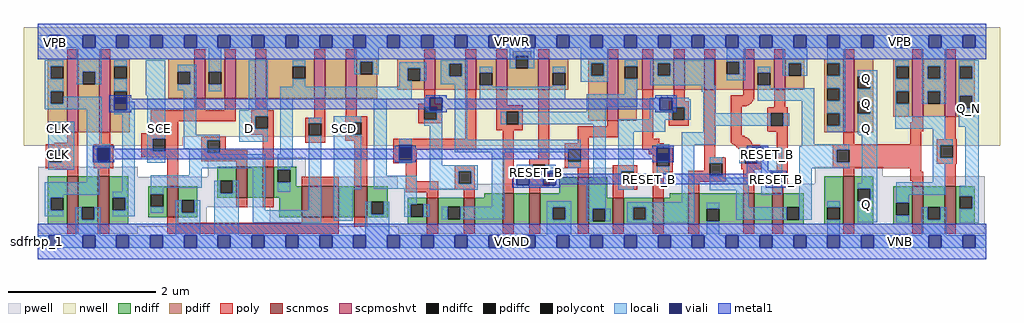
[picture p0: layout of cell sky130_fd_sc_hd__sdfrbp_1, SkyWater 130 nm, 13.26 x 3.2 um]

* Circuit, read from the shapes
.subckt sky130_fd_sc_hd__sdfrbp_1 CLK D RESET_B SCD SCE VGND VNB VPB VPWR Q Q_N
XM1 VGND CLK n1 VNB sky130_fd_pr__nfet_01v8 w=0.65 l=0.15
XM2 n2 n1 VGND VNB sky130_fd_pr__nfet_01v8 w=0.65 l=0.15
XM3 VGND SCE n3 VNB sky130_fd_pr__nfet_01v8 w=0.42 l=0.15
XM4 n4 n3 VGND VNB sky130_fd_pr__nfet_01v8 w=0.42 l=0.15
XM5 n5 D n4 VNB sky130_fd_pr__nfet_01v8 w=0.42 l=0.15
XM6 n6 SCE n5 VNB sky130_fd_pr__nfet_01v8 w=0.42 l=0.5
XM7 VGND SCD n6 VNB sky130_fd_pr__nfet_01v8 w=0.42 l=0.18
XM8 n7 n1 n5 VNB sky130_fd_pr__nfet_01v8 w=0.36 l=0.15
XM9 n8 n2 n7 VNB sky130_fd_pr__nfet_01v8 w=0.36 l=0.15
XM10 n9 n10 n8 VNB sky130_fd_pr__nfet_01v8 w=0.42 l=0.15
XM11 VGND RESET_B n9 VNB sky130_fd_pr__nfet_01v8 w=0.42 l=0.15
XM12 n10 n7 VGND VNB sky130_fd_pr__nfet_01v8 w=0.64 l=0.15
XM13 n11 n2 n10 VNB sky130_fd_pr__nfet_01v8 w=0.36 l=0.15
XM14 n12 n1 n11 VNB sky130_fd_pr__nfet_01v8 w=0.36 l=0.15
XM15 VGND n13 n12 VNB sky130_fd_pr__nfet_01v8 w=0.42 l=0.15
XM16 n14 RESET_B VGND VNB sky130_fd_pr__nfet_01v8 w=0.42 l=0.15
XM17 n13 n11 n14 VNB sky130_fd_pr__nfet_01v8 w=0.42 l=0.15
XM18 Q n13 VGND VNB sky130_fd_pr__nfet_01v8 w=0.65 l=0.15
XM19 VGND n13 n15 VNB sky130_fd_pr__nfet_01v8 w=0.52 l=0.15
XM20 Q_N n15 VGND VNB sky130_fd_pr__nfet_01v8 w=0.52 l=0.15
XM21 VPWR CLK n1 VPB sky130_fd_pr__pfet_01v8_hvt w=1 l=0.15
XM22 n2 n1 VPWR VPB sky130_fd_pr__pfet_01v8_hvt w=1 l=0.15
XM23 VPWR SCE n3 VPB sky130_fd_pr__pfet_01v8_hvt w=0.54 l=0.15
XM24 n16 SCE VPWR VPB sky130_fd_pr__pfet_01v8_hvt w=0.54 l=0.15
XM25 n5 D n16 VPB sky130_fd_pr__pfet_01v8_hvt w=0.54 l=0.15
XM26 n17 n3 n5 VPB sky130_fd_pr__pfet_01v8_hvt w=0.54 l=0.15
XM27 VPWR SCD n17 VPB sky130_fd_pr__pfet_01v8_hvt w=0.54 l=0.15
XM28 n7 n2 n5 VPB sky130_fd_pr__pfet_01v8_hvt w=0.42 l=0.15
XM29 n18 n1 n7 VPB sky130_fd_pr__pfet_01v8_hvt w=0.42 l=0.15
XM30 VPWR n10 n18 VPB sky130_fd_pr__pfet_01v8_hvt w=0.42 l=0.15
XM31 n18 RESET_B VPWR VPB sky130_fd_pr__pfet_01v8_hvt w=0.42 l=0.15
XM32 n10 n7 VPWR VPB sky130_fd_pr__pfet_01v8_hvt w=0.84 l=0.15
XM33 n11 n1 n10 VPB sky130_fd_pr__pfet_01v8_hvt w=0.42 l=0.15
XM34 n19 n2 n11 VPB sky130_fd_pr__pfet_01v8_hvt w=0.42 l=0.15
XM35 VPWR n13 n19 VPB sky130_fd_pr__pfet_01v8_hvt w=0.42 l=0.15
XM36 n13 RESET_B VPWR VPB sky130_fd_pr__pfet_01v8_hvt w=0.42 l=0.15
XM37 VPWR n11 n13 VPB sky130_fd_pr__pfet_01v8_hvt w=0.42 l=0.15
XM38 Q n13 VPWR VPB sky130_fd_pr__pfet_01v8_hvt w=1 l=0.15
XM39 VPWR n13 n15 VPB sky130_fd_pr__pfet_01v8_hvt w=0.79 l=0.15
XM40 Q_N n15 VPWR VPB sky130_fd_pr__pfet_01v8_hvt w=0.79 l=0.15
.ends

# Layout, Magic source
magic
tech sky130B
magscale 1 2
<< nwell >>
rect -38 285 2614 582
rect -38 261 394 285
rect 881 261 2614 285
<< pwell >>
rect 1 176 271 203
rect 461 176 728 229
rect 1 145 977 176
rect 1391 157 1573 201
rect 2110 177 2296 203
rect 2110 157 2572 177
rect 1187 145 2572 157
rect 1 93 2572 145
rect 1 40 459 93
rect 630 40 2572 93
rect 1 21 271 40
rect 979 21 2572 40
rect 43 -2 47 21
<< scnmos >>
rect 79 47 109 177
rect 163 47 193 177
rect 351 66 381 150
rect 539 119 569 203
rect 611 119 641 203
rect 717 66 817 150
rect 859 66 895 150
rect 1057 47 1087 119
rect 1157 47 1187 119
rect 1263 47 1293 131
rect 1335 47 1365 131
rect 1467 47 1497 175
rect 1562 47 1592 119
rect 1671 47 1701 119
rect 1767 47 1797 131
rect 1916 47 1946 131
rect 1995 47 2025 131
rect 2188 47 2218 177
rect 2376 47 2406 151
rect 2464 47 2494 151
<< scpmoshvt >>
rect 79 297 109 497
rect 166 297 196 497
rect 424 389 454 497
rect 508 389 538 497
rect 590 389 620 497
rect 750 389 780 497
rect 836 389 866 497
rect 1049 413 1079 497
rect 1161 413 1191 497
rect 1245 413 1275 497
rect 1359 413 1389 497
rect 1547 329 1577 497
rect 1642 413 1672 497
rect 1728 413 1758 497
rect 1810 413 1840 497
rect 1916 413 1946 497
rect 2000 413 2030 497
rect 2188 297 2218 497
rect 2376 339 2406 497
rect 2464 339 2494 497
<< ndiff >>
rect 27 119 79 177
rect 27 85 35 119
rect 69 85 79 119
rect 27 47 79 85
rect 109 93 163 177
rect 109 59 119 93
rect 153 59 163 93
rect 109 47 163 59
rect 193 119 245 177
rect 487 165 539 203
rect 193 85 203 119
rect 237 85 245 119
rect 193 47 245 85
rect 299 129 351 150
rect 299 95 307 129
rect 341 95 351 129
rect 299 66 351 95
rect 381 112 433 150
rect 487 131 495 165
rect 529 131 539 165
rect 487 119 539 131
rect 569 119 611 203
rect 641 195 702 203
rect 641 161 651 195
rect 685 161 702 195
rect 641 150 702 161
rect 641 119 717 150
rect 381 78 391 112
rect 425 78 433 112
rect 381 66 433 78
rect 656 66 717 119
rect 817 66 859 150
rect 895 108 951 150
rect 1417 131 1467 175
rect 1213 119 1263 131
rect 895 74 905 108
rect 939 74 951 108
rect 895 66 951 74
rect 1005 101 1057 119
rect 1005 67 1013 101
rect 1047 67 1057 101
rect 1005 47 1057 67
rect 1087 95 1157 119
rect 1087 61 1113 95
rect 1147 61 1157 95
rect 1087 47 1157 61
rect 1187 47 1263 119
rect 1293 47 1335 131
rect 1365 93 1467 131
rect 1365 59 1399 93
rect 1433 59 1467 93
rect 1365 47 1467 59
rect 1497 119 1547 175
rect 1716 119 1767 131
rect 1497 89 1562 119
rect 1497 55 1507 89
rect 1541 55 1562 89
rect 1497 47 1562 55
rect 1592 93 1671 119
rect 1592 59 1617 93
rect 1651 59 1671 93
rect 1592 47 1671 59
rect 1701 47 1767 119
rect 1797 89 1916 131
rect 1797 55 1817 89
rect 1851 55 1916 89
rect 1797 47 1916 55
rect 1946 47 1995 131
rect 2025 93 2081 131
rect 2025 59 2035 93
rect 2069 59 2081 93
rect 2025 47 2081 59
rect 2136 93 2188 177
rect 2136 59 2144 93
rect 2178 59 2188 93
rect 2136 47 2188 59
rect 2218 143 2270 177
rect 2218 109 2228 143
rect 2262 109 2270 143
rect 2218 47 2270 109
rect 2324 106 2376 151
rect 2324 72 2332 106
rect 2366 72 2376 106
rect 2324 47 2376 72
rect 2406 93 2464 151
rect 2406 59 2418 93
rect 2452 59 2464 93
rect 2406 47 2464 59
rect 2494 123 2546 151
rect 2494 89 2504 123
rect 2538 89 2546 123
rect 2494 47 2546 89
<< pdiff >>
rect 1290 505 1340 517
rect 1290 497 1298 505
rect 27 477 79 497
rect 27 443 35 477
rect 69 443 79 477
rect 27 409 79 443
rect 27 375 35 409
rect 69 375 79 409
rect 27 297 79 375
rect 109 461 166 497
rect 109 427 122 461
rect 156 427 166 461
rect 109 297 166 427
rect 196 477 249 497
rect 196 443 207 477
rect 241 443 249 477
rect 196 409 249 443
rect 196 375 207 409
rect 241 375 249 409
rect 354 461 424 497
rect 354 427 380 461
rect 414 427 424 461
rect 354 389 424 427
rect 454 462 508 497
rect 454 428 464 462
rect 498 428 508 462
rect 454 389 508 428
rect 538 389 590 497
rect 620 477 750 497
rect 620 443 692 477
rect 726 443 750 477
rect 620 389 750 443
rect 780 389 836 497
rect 866 489 922 497
rect 866 455 876 489
rect 910 455 922 489
rect 866 389 922 455
rect 976 471 1049 497
rect 976 437 1005 471
rect 1039 437 1049 471
rect 976 413 1049 437
rect 1079 483 1161 497
rect 1079 449 1117 483
rect 1151 449 1161 483
rect 1079 413 1161 449
rect 1191 459 1245 497
rect 1191 425 1201 459
rect 1235 425 1245 459
rect 1191 413 1245 425
rect 1275 471 1298 497
rect 1332 497 1340 505
rect 1332 471 1359 497
rect 1275 413 1359 471
rect 1389 459 1441 497
rect 1389 425 1399 459
rect 1433 425 1441 459
rect 1389 413 1441 425
rect 1495 485 1547 497
rect 1495 451 1503 485
rect 1537 451 1547 485
rect 196 297 249 375
rect 1495 329 1547 451
rect 1577 477 1642 497
rect 1577 443 1594 477
rect 1628 443 1642 477
rect 1577 413 1642 443
rect 1672 484 1728 497
rect 1672 450 1684 484
rect 1718 450 1728 484
rect 1672 413 1728 450
rect 1758 413 1810 497
rect 1840 489 1916 497
rect 1840 455 1872 489
rect 1906 455 1916 489
rect 1840 413 1916 455
rect 1946 459 2000 497
rect 1946 425 1956 459
rect 1990 425 2000 459
rect 1946 413 2000 425
rect 2030 485 2082 497
rect 2030 451 2040 485
rect 2074 451 2082 485
rect 2030 413 2082 451
rect 2136 485 2188 497
rect 2136 451 2144 485
rect 2178 451 2188 485
rect 2136 417 2188 451
rect 1577 329 1627 413
rect 2136 383 2144 417
rect 2178 383 2188 417
rect 2136 349 2188 383
rect 2136 315 2144 349
rect 2178 315 2188 349
rect 2136 297 2188 315
rect 2218 449 2270 497
rect 2218 415 2228 449
rect 2262 415 2270 449
rect 2218 381 2270 415
rect 2218 347 2228 381
rect 2262 347 2270 381
rect 2218 297 2270 347
rect 2324 477 2376 497
rect 2324 443 2332 477
rect 2366 443 2376 477
rect 2324 409 2376 443
rect 2324 375 2332 409
rect 2366 375 2376 409
rect 2324 339 2376 375
rect 2406 477 2464 497
rect 2406 443 2418 477
rect 2452 443 2464 477
rect 2406 409 2464 443
rect 2406 375 2418 409
rect 2452 375 2464 409
rect 2406 339 2464 375
rect 2494 477 2546 497
rect 2494 443 2504 477
rect 2538 443 2546 477
rect 2494 396 2546 443
rect 2494 362 2504 396
rect 2538 362 2546 396
rect 2494 339 2546 362
<< ndiffc >>
rect 35 85 69 119
rect 119 59 153 93
rect 203 85 237 119
rect 307 95 341 129
rect 495 131 529 165
rect 651 161 685 195
rect 391 78 425 112
rect 905 74 939 108
rect 1013 67 1047 101
rect 1113 61 1147 95
rect 1399 59 1433 93
rect 1507 55 1541 89
rect 1617 59 1651 93
rect 1817 55 1851 89
rect 2035 59 2069 93
rect 2144 59 2178 93
rect 2228 109 2262 143
rect 2332 72 2366 106
rect 2418 59 2452 93
rect 2504 89 2538 123
<< pdiffc >>
rect 35 443 69 477
rect 35 375 69 409
rect 122 427 156 461
rect 207 443 241 477
rect 207 375 241 409
rect 380 427 414 461
rect 464 428 498 462
rect 692 443 726 477
rect 876 455 910 489
rect 1005 437 1039 471
rect 1117 449 1151 483
rect 1201 425 1235 459
rect 1298 471 1332 505
rect 1399 425 1433 459
rect 1503 451 1537 485
rect 1594 443 1628 477
rect 1684 450 1718 484
rect 1872 455 1906 489
rect 1956 425 1990 459
rect 2040 451 2074 485
rect 2144 451 2178 485
rect 2144 383 2178 417
rect 2144 315 2178 349
rect 2228 415 2262 449
rect 2228 347 2262 381
rect 2332 443 2366 477
rect 2332 375 2366 409
rect 2418 443 2452 477
rect 2418 375 2452 409
rect 2504 443 2538 477
rect 2504 362 2538 396
<< poly >>
rect 79 497 109 523
rect 166 497 196 523
rect 424 497 454 523
rect 508 497 538 523
rect 590 497 620 523
rect 750 497 780 523
rect 836 497 866 523
rect 1049 497 1079 523
rect 1161 497 1191 523
rect 1245 497 1275 523
rect 1359 497 1389 523
rect 1547 497 1577 523
rect 1642 497 1672 523
rect 1728 497 1758 523
rect 1810 497 1840 523
rect 1916 497 1946 523
rect 2000 497 2030 523
rect 2188 497 2218 523
rect 2376 497 2406 523
rect 2464 497 2494 523
rect 424 357 454 389
rect 508 357 538 389
rect 590 357 620 389
rect 307 327 538 357
rect 580 341 641 357
rect 79 269 109 297
rect 46 265 109 269
rect 166 265 196 297
rect 307 295 381 327
rect 280 279 381 295
rect 580 307 590 341
rect 624 307 641 341
rect 750 337 780 389
rect 836 340 866 389
rect 1049 375 1079 413
rect 1033 365 1099 375
rect 730 336 780 337
rect 728 335 780 336
rect 580 291 641 307
rect 21 249 109 265
rect 21 215 31 249
rect 65 215 109 249
rect 21 199 109 215
rect 151 249 205 265
rect 151 215 161 249
rect 195 215 205 249
rect 280 245 312 279
rect 346 245 381 279
rect 280 229 381 245
rect 151 199 205 215
rect 46 196 109 199
rect 79 177 109 196
rect 163 177 193 199
rect 351 150 381 229
rect 444 275 510 285
rect 444 241 460 275
rect 494 248 510 275
rect 494 241 569 248
rect 444 218 569 241
rect 539 203 569 218
rect 611 203 641 291
rect 726 321 780 335
rect 726 287 736 321
rect 770 287 780 321
rect 726 268 780 287
rect 835 324 895 340
rect 835 290 845 324
rect 879 290 895 324
rect 1033 331 1049 365
rect 1083 331 1099 365
rect 1033 321 1099 331
rect 835 274 895 290
rect 1161 279 1191 413
rect 1245 371 1275 413
rect 1245 353 1317 371
rect 1245 319 1273 353
rect 1307 319 1317 353
rect 1245 303 1317 319
rect 717 150 817 176
rect 859 150 895 274
rect 966 263 1191 279
rect 966 229 981 263
rect 1015 249 1191 263
rect 1015 229 1029 249
rect 966 213 1029 229
rect 999 164 1029 213
rect 1133 191 1187 207
rect 539 93 569 119
rect 611 93 641 119
rect 999 134 1087 164
rect 1133 157 1143 191
rect 1177 157 1187 191
rect 1133 141 1187 157
rect 1057 119 1087 134
rect 1157 119 1187 141
rect 1263 131 1293 303
rect 1359 225 1389 413
rect 1547 314 1577 329
rect 1467 284 1577 314
rect 1467 267 1497 284
rect 1335 209 1389 225
rect 1335 175 1345 209
rect 1379 175 1389 209
rect 1431 251 1497 267
rect 1431 217 1441 251
rect 1475 217 1497 251
rect 1642 279 1672 413
rect 1728 381 1758 413
rect 1714 365 1768 381
rect 1714 331 1724 365
rect 1758 331 1768 365
rect 1714 315 1768 331
rect 1642 267 1688 279
rect 1642 255 1701 267
rect 1642 249 1725 255
rect 1659 239 1725 249
rect 1659 237 1681 239
rect 1431 201 1497 217
rect 1467 175 1497 201
rect 1562 191 1629 207
rect 1335 151 1389 175
rect 1335 131 1365 151
rect 351 51 381 66
rect 717 51 817 66
rect 79 21 109 47
rect 163 21 193 47
rect 351 21 817 51
rect 859 40 895 66
rect 1562 157 1585 191
rect 1619 157 1629 191
rect 1562 141 1629 157
rect 1671 205 1681 237
rect 1715 205 1725 239
rect 1671 189 1725 205
rect 1810 229 1840 413
rect 1916 398 1946 413
rect 1882 387 1946 398
rect 1882 384 1944 387
rect 1882 383 1943 384
rect 1882 381 1942 383
rect 1882 380 1941 381
rect 1882 378 1940 380
rect 1882 377 1939 378
rect 1882 376 1938 377
rect 1882 375 1937 376
rect 1882 374 1936 375
rect 1882 373 1934 374
rect 1882 372 1933 373
rect 1882 371 1931 372
rect 1882 370 1930 371
rect 1882 369 1927 370
rect 1882 368 1924 369
rect 1882 287 1912 368
rect 2000 365 2030 413
rect 1985 364 2037 365
rect 1983 363 2037 364
rect 1981 349 2037 363
rect 1981 315 1991 349
rect 2025 315 2037 349
rect 1981 301 2037 315
rect 1983 300 2037 301
rect 1985 299 2037 300
rect 1882 284 1920 287
rect 1882 283 1923 284
rect 1882 282 1926 283
rect 1882 281 1927 282
rect 1882 280 1929 281
rect 1882 279 1930 280
rect 1882 278 1932 279
rect 1882 277 1933 278
rect 1882 276 1934 277
rect 1882 275 1935 276
rect 1882 273 1936 275
rect 1882 272 1937 273
rect 1882 270 1938 272
rect 1882 269 1939 270
rect 1882 268 1940 269
rect 1885 266 1940 268
rect 1887 265 1941 266
rect 1889 264 1941 265
rect 1891 263 1941 264
rect 1893 262 1961 263
rect 1894 261 1963 262
rect 1895 260 1965 261
rect 1897 259 1965 260
rect 1898 258 1965 259
rect 1899 257 1965 258
rect 1900 256 1965 257
rect 1901 255 1965 256
rect 1902 253 1965 255
rect 1903 252 1965 253
rect 1904 251 1965 252
rect 1905 249 1965 251
rect 1906 247 1965 249
rect 1907 245 1921 247
rect 1908 243 1921 245
rect 1909 240 1921 243
rect 1910 237 1921 240
rect 1810 228 1865 229
rect 1810 227 1867 228
rect 1810 213 1869 227
rect 1810 193 1825 213
rect 1562 119 1592 141
rect 1671 119 1701 189
rect 1767 179 1825 193
rect 1859 179 1869 213
rect 1911 213 1921 237
rect 1955 213 1965 247
rect 1911 197 1965 213
rect 1767 163 1869 179
rect 1767 131 1797 163
rect 1916 131 1946 197
rect 2007 170 2037 299
rect 2376 324 2406 339
rect 2370 300 2406 324
rect 2188 265 2218 297
rect 2370 265 2400 300
rect 2464 278 2494 339
rect 2160 249 2400 265
rect 2160 215 2170 249
rect 2204 215 2400 249
rect 2160 199 2400 215
rect 2442 262 2496 278
rect 2442 228 2452 262
rect 2486 228 2496 262
rect 2442 212 2496 228
rect 2188 177 2218 199
rect 2370 190 2400 199
rect 2005 169 2037 170
rect 2004 168 2037 169
rect 2003 167 2037 168
rect 1995 146 2037 167
rect 1995 131 2025 146
rect 2370 166 2406 190
rect 2376 151 2406 166
rect 2464 151 2494 212
rect 1057 21 1087 47
rect 1157 21 1187 47
rect 1263 21 1293 47
rect 1335 21 1365 47
rect 1467 21 1497 47
rect 1562 21 1592 47
rect 1671 21 1701 47
rect 1767 21 1797 47
rect 1916 21 1946 47
rect 1995 21 2025 47
rect 2188 21 2218 47
rect 2376 21 2406 47
rect 2464 21 2494 47
<< polycont >>
rect 590 307 624 341
rect 31 215 65 249
rect 161 215 195 249
rect 312 245 346 279
rect 460 241 494 275
rect 736 287 770 321
rect 845 290 879 324
rect 1049 331 1083 365
rect 1273 319 1307 353
rect 981 229 1015 263
rect 1143 157 1177 191
rect 1345 175 1379 209
rect 1441 217 1475 251
rect 1724 331 1758 365
rect 1585 157 1619 191
rect 1681 205 1715 239
rect 1991 315 2025 349
rect 1825 179 1859 213
rect 1921 213 1955 247
rect 2170 215 2204 249
rect 2452 228 2486 262
<< locali >>
rect 0 527 29 561
rect 63 527 121 561
rect 155 527 213 561
rect 247 527 305 561
rect 339 527 397 561
rect 431 527 489 561
rect 523 527 581 561
rect 615 527 673 561
rect 707 527 765 561
rect 799 527 857 561
rect 891 527 949 561
rect 983 527 1041 561
rect 1075 527 1133 561
rect 1167 527 1225 561
rect 1259 527 1317 561
rect 1351 527 1409 561
rect 1443 527 1501 561
rect 1535 527 1593 561
rect 1627 527 1685 561
rect 1719 527 1777 561
rect 1811 527 1869 561
rect 1903 527 1961 561
rect 1995 527 2053 561
rect 2087 527 2145 561
rect 2179 527 2237 561
rect 2271 527 2329 561
rect 2363 527 2421 561
rect 2455 527 2513 561
rect 2547 527 2576 561
rect 18 477 69 493
rect 18 443 35 477
rect 18 409 69 443
rect 106 461 172 527
rect 106 427 122 461
rect 156 427 172 461
rect 207 477 241 493
rect 18 375 35 409
rect 207 409 241 443
rect 69 375 173 393
rect 18 359 173 375
rect 28 249 98 325
rect 28 215 31 249
rect 65 215 98 249
rect 28 195 98 215
rect 132 265 173 359
rect 293 397 346 493
rect 380 461 430 480
rect 414 427 430 461
rect 380 411 430 427
rect 241 357 263 380
rect 207 346 263 357
rect 132 255 195 265
rect 132 215 161 255
rect 132 199 195 215
rect 132 161 167 199
rect 19 127 167 161
rect 229 135 263 346
rect 297 279 346 397
rect 297 245 312 279
rect 396 291 430 411
rect 464 462 498 527
rect 464 408 498 428
rect 573 357 624 493
rect 692 477 726 493
rect 860 489 926 527
rect 1282 505 1348 527
rect 860 455 876 489
rect 910 455 926 489
rect 981 471 1055 487
rect 692 421 726 443
rect 981 437 1005 471
rect 1039 437 1055 471
rect 1094 483 1167 493
rect 1094 449 1117 483
rect 1151 449 1167 483
rect 981 421 1015 437
rect 1094 427 1167 449
rect 547 341 624 357
rect 547 307 590 341
rect 396 275 494 291
rect 396 252 460 275
rect 297 214 346 245
rect 411 241 460 252
rect 547 271 624 307
rect 658 387 1015 421
rect 411 237 494 241
rect 658 237 692 387
rect 411 199 617 237
rect 411 180 445 199
rect 19 119 69 127
rect 19 85 35 119
rect 203 119 263 135
rect 19 69 69 85
rect 103 59 119 93
rect 153 59 169 93
rect 237 85 263 119
rect 203 69 263 85
rect 307 146 445 180
rect 307 129 341 146
rect 479 131 495 165
rect 529 131 545 165
rect 307 79 341 95
rect 375 78 391 112
rect 425 78 441 112
rect 103 17 169 59
rect 375 17 441 78
rect 479 17 545 131
rect 583 85 617 199
rect 651 203 692 237
rect 736 321 770 337
rect 651 195 685 203
rect 651 135 685 161
rect 736 85 770 287
rect 583 51 770 85
rect 804 324 879 340
rect 804 290 845 324
rect 804 142 879 290
rect 913 179 947 387
rect 1049 365 1065 391
rect 1083 331 1099 357
rect 1049 315 1099 331
rect 981 263 1015 279
rect 981 213 1015 221
rect 1065 207 1099 315
rect 1133 277 1167 427
rect 1201 459 1235 475
rect 1282 471 1298 505
rect 1332 471 1348 505
rect 1475 485 1549 527
rect 1201 421 1235 425
rect 1399 459 1433 475
rect 1475 451 1503 485
rect 1537 451 1549 485
rect 1475 435 1549 451
rect 1594 477 1628 493
rect 1399 421 1433 425
rect 1201 387 1433 421
rect 1594 401 1628 443
rect 1664 484 1838 493
rect 1664 450 1684 484
rect 1718 450 1838 484
rect 1664 425 1838 450
rect 1872 489 1922 527
rect 1906 455 1922 489
rect 2024 485 2090 527
rect 1872 439 1922 455
rect 1956 459 1990 475
rect 1803 423 1838 425
rect 2024 451 2040 485
rect 2074 451 2090 485
rect 2144 485 2194 527
rect 2178 451 2194 485
rect 2330 477 2366 493
rect 1803 407 1842 423
rect 1491 367 1628 401
rect 1491 353 1543 367
rect 1257 319 1273 353
rect 1307 319 1543 353
rect 1662 357 1689 391
rect 1723 387 1768 391
rect 1723 365 1774 387
rect 1723 357 1724 365
rect 1662 333 1724 357
rect 1133 251 1475 277
rect 1133 243 1441 251
rect 1065 191 1195 207
rect 913 143 1029 179
rect 804 57 855 142
rect 889 74 905 108
rect 939 74 955 108
rect 889 17 955 74
rect 995 101 1029 143
rect 1065 157 1143 191
rect 1177 157 1195 191
rect 1065 141 1195 157
rect 995 67 1013 101
rect 1047 67 1063 101
rect 1233 95 1267 243
rect 1301 187 1345 209
rect 1379 187 1407 209
rect 1441 201 1475 217
rect 1335 175 1345 187
rect 1335 153 1373 175
rect 1509 167 1543 319
rect 1097 61 1113 95
rect 1147 61 1267 95
rect 1383 93 1449 109
rect 1383 59 1399 93
rect 1433 59 1449 93
rect 1383 17 1449 59
rect 1491 89 1543 167
rect 1577 331 1724 333
rect 1758 331 1774 365
rect 1808 349 1842 407
rect 1956 417 1990 425
rect 2144 417 2194 451
rect 1956 383 2109 417
rect 1577 299 1704 331
rect 1808 315 1991 349
rect 2025 315 2041 349
rect 1577 191 1619 299
rect 1808 297 1842 315
rect 1577 157 1585 191
rect 1681 255 1715 265
rect 1681 184 1715 205
rect 1749 263 1842 297
rect 2075 265 2109 383
rect 2178 383 2194 417
rect 2144 349 2194 383
rect 2178 315 2194 349
rect 2144 299 2194 315
rect 2228 449 2280 465
rect 2262 415 2280 449
rect 2228 381 2280 415
rect 2262 347 2280 381
rect 2228 292 2280 347
rect 2330 443 2332 477
rect 2330 409 2366 443
rect 2330 375 2332 409
rect 2402 477 2468 527
rect 2402 443 2418 477
rect 2452 443 2468 477
rect 2402 409 2468 443
rect 2402 375 2418 409
rect 2452 375 2468 409
rect 2502 477 2556 493
rect 2502 443 2504 477
rect 2538 443 2556 477
rect 2502 396 2556 443
rect 2330 341 2366 375
rect 2502 362 2504 396
rect 2538 362 2556 396
rect 2330 307 2465 341
rect 2502 312 2556 362
rect 2230 289 2280 292
rect 1577 141 1619 157
rect 1749 107 1783 263
rect 2075 259 2204 265
rect 1905 247 1938 255
rect 1825 213 1859 229
rect 1905 213 1921 247
rect 1972 221 2023 255
rect 1955 213 2023 221
rect 1825 173 1859 179
rect 1965 187 2023 213
rect 1825 139 1931 173
rect 1601 93 1783 107
rect 1491 55 1507 89
rect 1541 55 1557 89
rect 1601 59 1617 93
rect 1651 59 1783 93
rect 1601 51 1783 59
rect 1817 89 1851 105
rect 1897 93 1931 139
rect 1965 153 1989 187
rect 1965 127 2023 153
rect 2069 249 2204 259
rect 2069 215 2170 249
rect 2069 199 2204 215
rect 1897 59 2035 93
rect 2069 59 2103 199
rect 2238 159 2280 289
rect 2431 278 2465 307
rect 2431 262 2486 278
rect 2431 228 2452 262
rect 2431 212 2486 228
rect 2431 161 2465 212
rect 2228 143 2280 159
rect 2262 109 2280 143
rect 2144 93 2178 109
rect 1817 17 1851 55
rect 2144 17 2178 59
rect 2228 53 2280 109
rect 2332 127 2465 161
rect 2520 152 2556 312
rect 2332 106 2366 127
rect 2504 123 2556 152
rect 2332 51 2366 72
rect 2402 59 2418 93
rect 2452 59 2468 93
rect 2402 17 2468 59
rect 2538 89 2556 123
rect 2504 51 2556 89
rect 0 -17 29 17
rect 63 -17 121 17
rect 155 -17 213 17
rect 247 -17 305 17
rect 339 -17 397 17
rect 431 -17 489 17
rect 523 -17 581 17
rect 615 -17 673 17
rect 707 -17 765 17
rect 799 -17 857 17
rect 891 -17 949 17
rect 983 -17 1041 17
rect 1075 -17 1133 17
rect 1167 -17 1225 17
rect 1259 -17 1317 17
rect 1351 -17 1409 17
rect 1443 -17 1501 17
rect 1535 -17 1593 17
rect 1627 -17 1685 17
rect 1719 -17 1777 17
rect 1811 -17 1869 17
rect 1903 -17 1961 17
rect 1995 -17 2053 17
rect 2087 -17 2145 17
rect 2179 -17 2237 17
rect 2271 -17 2329 17
rect 2363 -17 2421 17
rect 2455 -17 2513 17
rect 2547 -17 2576 17
<< viali >>
rect 29 527 63 561
rect 121 527 155 561
rect 213 527 247 561
rect 305 527 339 561
rect 397 527 431 561
rect 489 527 523 561
rect 581 527 615 561
rect 673 527 707 561
rect 765 527 799 561
rect 857 527 891 561
rect 949 527 983 561
rect 1041 527 1075 561
rect 1133 527 1167 561
rect 1225 527 1259 561
rect 1317 527 1351 561
rect 1409 527 1443 561
rect 1501 527 1535 561
rect 1593 527 1627 561
rect 1685 527 1719 561
rect 1777 527 1811 561
rect 1869 527 1903 561
rect 1961 527 1995 561
rect 2053 527 2087 561
rect 2145 527 2179 561
rect 2237 527 2271 561
rect 2329 527 2363 561
rect 2421 527 2455 561
rect 2513 527 2547 561
rect 207 375 241 391
rect 207 357 241 375
rect 161 249 195 255
rect 161 221 195 249
rect 1065 365 1099 391
rect 1065 357 1083 365
rect 1083 357 1099 365
rect 981 229 1015 255
rect 981 221 1015 229
rect 1689 357 1723 391
rect 1301 153 1335 187
rect 1373 175 1379 187
rect 1379 175 1407 187
rect 1373 153 1407 175
rect 1681 239 1715 255
rect 1681 221 1715 239
rect 1938 247 1972 255
rect 1938 221 1955 247
rect 1955 221 1972 247
rect 1989 153 2023 187
rect 29 -17 63 17
rect 121 -17 155 17
rect 213 -17 247 17
rect 305 -17 339 17
rect 397 -17 431 17
rect 489 -17 523 17
rect 581 -17 615 17
rect 673 -17 707 17
rect 765 -17 799 17
rect 857 -17 891 17
rect 949 -17 983 17
rect 1041 -17 1075 17
rect 1133 -17 1167 17
rect 1225 -17 1259 17
rect 1317 -17 1351 17
rect 1409 -17 1443 17
rect 1501 -17 1535 17
rect 1593 -17 1627 17
rect 1685 -17 1719 17
rect 1777 -17 1811 17
rect 1869 -17 1903 17
rect 1961 -17 1995 17
rect 2053 -17 2087 17
rect 2145 -17 2179 17
rect 2237 -17 2271 17
rect 2329 -17 2363 17
rect 2421 -17 2455 17
rect 2513 -17 2547 17
<< metal1 >>
rect 0 561 2576 592
rect 0 527 29 561
rect 63 527 121 561
rect 155 527 213 561
rect 247 527 305 561
rect 339 527 397 561
rect 431 527 489 561
rect 523 527 581 561
rect 615 527 673 561
rect 707 527 765 561
rect 799 527 857 561
rect 891 527 949 561
rect 983 527 1041 561
rect 1075 527 1133 561
rect 1167 527 1225 561
rect 1259 527 1317 561
rect 1351 527 1409 561
rect 1443 527 1501 561
rect 1535 527 1593 561
rect 1627 527 1685 561
rect 1719 527 1777 561
rect 1811 527 1869 561
rect 1903 527 1961 561
rect 1995 527 2053 561
rect 2087 527 2145 561
rect 2179 527 2237 561
rect 2271 527 2329 561
rect 2363 527 2421 561
rect 2455 527 2513 561
rect 2547 527 2576 561
rect 0 496 2576 527
rect 194 391 254 397
rect 194 357 207 391
rect 241 388 254 391
rect 1053 391 1111 397
rect 1053 388 1065 391
rect 241 360 1065 388
rect 241 357 254 360
rect 194 351 254 357
rect 1053 357 1065 360
rect 1099 388 1111 391
rect 1677 391 1735 397
rect 1677 388 1689 391
rect 1099 360 1689 388
rect 1099 357 1111 360
rect 1053 351 1111 357
rect 1677 357 1689 360
rect 1723 357 1735 391
rect 1677 351 1735 357
rect 149 255 207 261
rect 149 221 161 255
rect 195 252 207 255
rect 969 255 1027 261
rect 969 252 981 255
rect 195 224 981 252
rect 195 221 207 224
rect 149 215 207 221
rect 969 221 981 224
rect 1015 252 1027 255
rect 1669 255 1727 261
rect 1669 252 1681 255
rect 1015 224 1681 252
rect 1015 221 1027 224
rect 969 215 1027 221
rect 1669 221 1681 224
rect 1715 221 1727 255
rect 1669 215 1727 221
rect 1926 255 1984 261
rect 1926 221 1938 255
rect 1972 221 1984 255
rect 1926 193 1984 221
rect 1289 187 1419 193
rect 1289 153 1301 187
rect 1335 153 1373 187
rect 1407 184 1419 187
rect 1926 187 2035 193
rect 1926 184 1989 187
rect 1407 156 1989 184
rect 1407 153 1419 156
rect 1289 147 1419 153
rect 1977 153 1989 156
rect 2023 153 2035 187
rect 1977 147 2035 153
rect 0 17 2576 48
rect 0 -17 29 17
rect 63 -17 121 17
rect 155 -17 213 17
rect 247 -17 305 17
rect 339 -17 397 17
rect 431 -17 489 17
rect 523 -17 581 17
rect 615 -17 673 17
rect 707 -17 765 17
rect 799 -17 857 17
rect 891 -17 949 17
rect 983 -17 1041 17
rect 1075 -17 1133 17
rect 1167 -17 1225 17
rect 1259 -17 1317 17
rect 1351 -17 1409 17
rect 1443 -17 1501 17
rect 1535 -17 1593 17
rect 1627 -17 1685 17
rect 1719 -17 1777 17
rect 1811 -17 1869 17
rect 1903 -17 1961 17
rect 1995 -17 2053 17
rect 2087 -17 2145 17
rect 2179 -17 2237 17
rect 2271 -17 2329 17
rect 2363 -17 2421 17
rect 2455 -17 2513 17
rect 2547 -17 2576 17
rect 0 -48 2576 -17
<< labels >>
rlabel comment s 0 0 0 0 4 sdfrbp_1
flabel nwell s 34 528 63 556 0 FreeSans 200 0 0 0 VPB
port 8 nsew power bidirectional
flabel nwell s 2343 544 2343 544 0 FreeSans 200 0 0 0 VPB
flabel pwell s 43 -2 47 3 0 FreeSans 200 0 0 0 VNB
port 7 nsew ground bidirectional
flabel pwell s 2343 0 2343 0 0 FreeSans 200 0 0 0 VNB
flabel metal1 s 31 534 63 554 0 FreeSans 200 0 0 0 VPWR
port 9 nsew power bidirectional abutment
flabel metal1 s 39 -10 57 7 0 FreeSans 200 0 0 0 VGND
port 6 nsew ground bidirectional abutment
flabel locali s 2511 343 2545 379 0 FreeSans 200 0 0 0 Q_N
port 11 nsew signal output
flabel locali s 312 289 346 323 0 FreeSans 200 0 0 0 SCE
port 5 nsew signal input
flabel locali s 815 289 849 323 0 FreeSans 200 0 0 0 SCD
port 4 nsew signal input
flabel locali s 559 289 593 323 0 FreeSans 200 0 0 0 D
port 2 nsew signal input
flabel locali s 1965 221 1999 255 0 FreeSans 400 0 0 0 RESET_B
port 3 nsew signal input
flabel locali s 40 221 74 255 0 FreeSans 400 0 0 0 CLK
port 1 nsew clock input
flabel locali s 40 289 74 323 0 FreeSans 400 0 0 0 CLK
port 1 nsew clock input
flabel locali s 1989 153 2023 187 0 FreeSans 400 0 0 0 RESET_B
port 3 nsew signal input
flabel locali s 2234 85 2268 119 0 FreeSans 400 0 0 0 Q
port 10 nsew signal output
flabel locali s 2234 289 2268 323 0 FreeSans 400 0 0 0 Q
port 10 nsew signal output
flabel locali s 2234 357 2268 391 0 FreeSans 400 0 0 0 Q
port 10 nsew signal output
flabel locali s 2234 425 2268 459 0 FreeSans 400 0 0 0 Q
port 10 nsew signal output
rlabel locali s 1965 127 2023 213 1 RESET_B
port 3 nsew signal input
rlabel locali s 1905 213 2023 255 1 RESET_B
port 3 nsew signal input
rlabel metal1 s 1977 147 2035 156 1 RESET_B
port 3 nsew signal input
rlabel metal1 s 1926 193 1984 261 1 RESET_B
port 3 nsew signal input
rlabel metal1 s 1926 184 2035 193 1 RESET_B
port 3 nsew signal input
rlabel metal1 s 1289 184 1419 193 1 RESET_B
port 3 nsew signal input
rlabel metal1 s 1289 156 2035 184 1 RESET_B
port 3 nsew signal input
rlabel metal1 s 1289 147 1419 156 1 RESET_B
port 3 nsew signal input
rlabel metal1 s 0 -48 2576 48 1 VGND
port 6 nsew ground bidirectional abutment
rlabel metal1 s 0 496 2576 592 1 VPWR
port 9 nsew power bidirectional abutment
<< properties >>
string FIXED_BBOX 0 0 2576 544
string GDS_END 218520
string GDS_FILE $PDKPATH/libs.ref/sky130_fd_sc_hd/gds/sky130_fd_sc_hd.gds
string GDS_START 197612
string LEFclass CORE
string LEFsite unithd
string LEFsymmetry X Y R90
string path 0.000 0.000 12.880 0.000 
<< end >>
